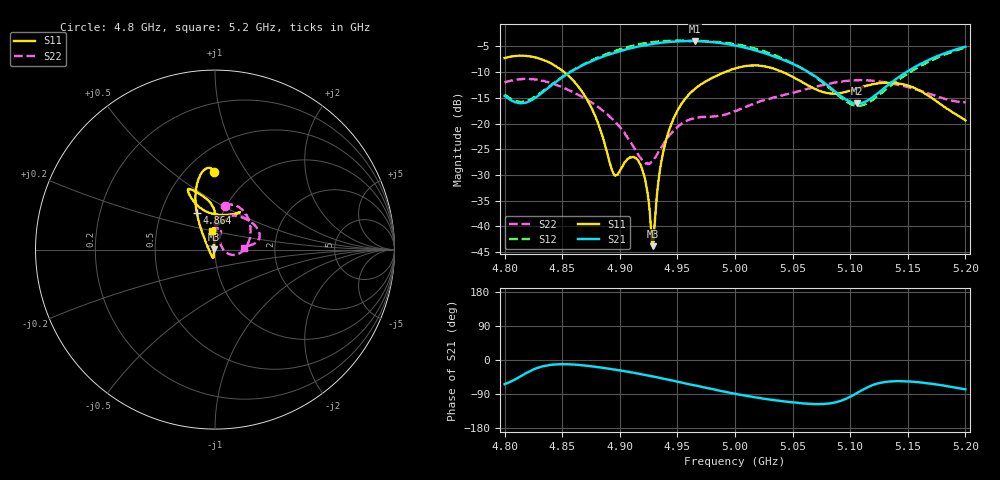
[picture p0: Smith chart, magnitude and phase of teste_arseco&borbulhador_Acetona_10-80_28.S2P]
! Network Analyzer HP8722D
! Hewlett-Packard
! Data name: Linha & Wilkinson
! Saver's name: Rodrigo Anjos
! Comments: Teste da utilização de aquisição
! continua pelo VNA HP8722D
! Time and date: 25/4/2025 15:30
!  Frequency  S11  S21  S12  S22
# HZ  S  MA R 50
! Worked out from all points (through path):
!   401 points, 4.8 GHz to 5.2 GHz, reference 50 ohm
!   highest |S21| = -3.95 dB at 4.965 GHz (marker M1); lowest = -16.1 dB at 5.106 GHz (marker M2)
!   lowest |S11| = -43.8 dB at 4.929 GHz (marker M3), VSWR 1.01, Z = 49.4 + j0.186 ohm
!   |S11| at or under -10 dB: 4.852 GHz to 4.991 GHz (139.6 MHz wide, 2.84 % of centre); 5.042 GHz to end of sweep
!   |S22| runs from -27.9 to -11.3 dB; largest |S21 - S12| = 1.2
!   S11 on the Smith chart (normalised r, x): 4.8 GHz: 0.68, +0.73; 4.864 GHz: 0.76, +0.33; 5.2 GHz: 0.94, +0.20
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4.8e9  0.4327 90.4  0.1858 -63.9  0.1909 69.7  0.2506 77.5
4.82e9  0.4519 96.6  0.1622 -32.4  0.1675 98.6  0.2713 61.9
4.864e9  0.229 116.2  0.3505 -13.0  0.3536 121.0  0.1894 11.9
4.867e9  0.2057 118.0  0.3647 -14.0  0.369 120.6  0.1827 8.5
4.88e9  0.1082 128.3  0.4238 -18.4  0.4343 118.2  0.1485 -5.6
4.895e9  0.03171 -169.3  0.4865 -25.0  0.5032 113.7  0.1062 -16.1
4.909e9  0.04724 -105.1  0.5373 -32.0  0.5624 107.6  0.06652 -15.1
4.917e9  0.04147 -100.8  0.5638 -36.4  0.591 103.5  0.04778 -2.0
4.922e9  0.02865 -103.3  0.5777 -39.4  0.604 100.6  0.04137 15.7
4.927e9  0.009669 -127.7  0.5905 -42.5  0.6179 97.5  0.0421 37.9
4.929e9  0.006437 163.0  0.5942 -43.7  0.6216 96.4  0.04377 44.9
4.934e9  0.03027 99.0  0.6064 -47.0  0.6306 93.2  0.05434 58.5
4.939e9  0.06114 91.7  0.6162 -50.0  0.6344 89.9  0.06654 66.4
4.945e9  0.1008 89.7  0.6234 -53.9  0.6414 86.2  0.08073 70.4
4.965e9  0.2163 90.6  0.6349 -67.1  0.6393 73.4  0.1135 72.2
5e9  0.3434 108.9  0.5743 -89.1  0.5929 50.7  0.1326 88.5
5.029e9  0.3542 114.9  0.4696 -103.8  0.4872 34.1  0.1734 85.8
5.067e9  0.2232 104.8  0.3012 -116.1  0.2985 23.6  0.2227 57.1
5.106e9  0.219 63.8  0.1568 -87.0  0.1487 56.0  0.2633 24.8
5.134e9  0.2499 56.4  0.2424 -56.7  0.2278 88.7  0.2478 12.4
5.169e9  0.1833 69.0  0.4197 -62.2  0.404 84.7  0.1944 6.9
5.2e9  0.1074 99.9  0.5575 -77.6  0.5476 70.1  0.1609 3.8
